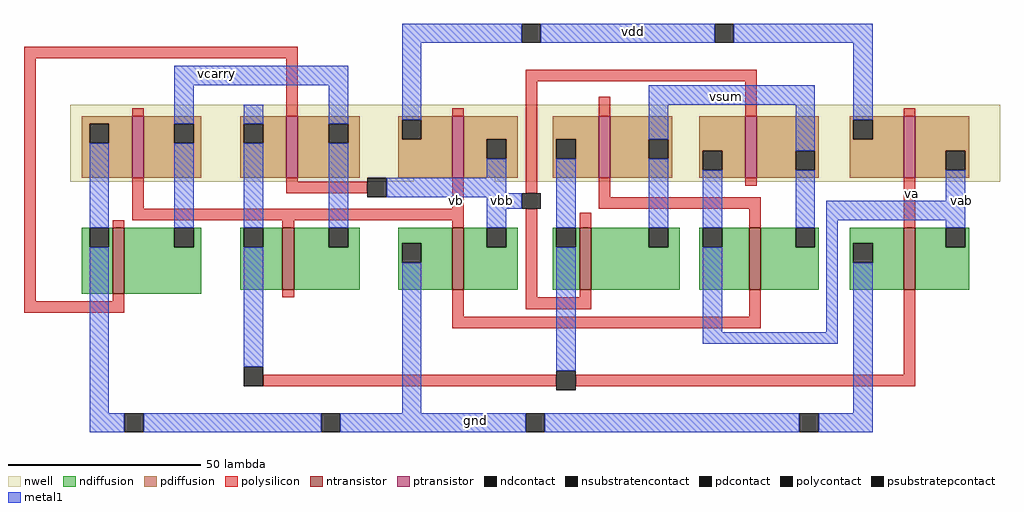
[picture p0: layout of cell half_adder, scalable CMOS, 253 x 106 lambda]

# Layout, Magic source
magic
tech scmos
<< nwell >>
rect -135 1 106 20
rect -135 0 -46 1
rect -25 0 106 1
<< polysilicon >>
rect -147 32 -76 35
rect -147 -31 -144 32
rect -119 17 -116 19
rect -79 17 -76 32
rect -17 26 43 29
rect -36 17 -33 19
rect -119 -7 -116 1
rect -79 0 -76 1
rect -79 -3 -58 0
rect -36 -7 -33 1
rect -17 -3 -14 26
rect 2 17 5 22
rect 40 17 43 26
rect 81 17 84 19
rect 2 -4 5 1
rect 40 -1 43 1
rect 2 -7 44 -4
rect -119 -10 -33 -7
rect -124 -12 -121 -10
rect -80 -12 -77 -10
rect -36 -12 -33 -10
rect -124 -31 -121 -29
rect -80 -30 -77 -28
rect -147 -34 -121 -31
rect -36 -35 -33 -28
rect -17 -30 -14 -7
rect -3 -12 0 -8
rect 41 -12 44 -7
rect 81 -12 84 1
rect -3 -30 0 -28
rect -17 -33 0 -30
rect 41 -35 44 -28
rect -36 -38 44 -35
rect -85 -53 -9 -50
rect 81 -50 84 -28
rect -4 -53 84 -50
<< ndiffusion >>
rect -132 -17 -130 -12
rect -125 -17 -124 -12
rect -132 -29 -124 -17
rect -121 -17 -108 -12
rect -103 -17 -101 -12
rect -121 -29 -101 -17
rect -91 -17 -90 -12
rect -85 -17 -80 -12
rect -91 -28 -80 -17
rect -77 -17 -68 -12
rect -63 -17 -60 -12
rect -77 -28 -60 -17
rect -50 -16 -36 -12
rect -50 -21 -49 -16
rect -44 -21 -36 -16
rect -50 -28 -36 -21
rect -33 -17 -27 -12
rect -22 -17 -19 -12
rect -33 -28 -19 -17
rect -10 -17 -9 -12
rect -4 -17 -3 -12
rect -10 -28 -3 -17
rect 0 -17 15 -12
rect 20 -17 23 -12
rect 0 -28 23 -17
rect 28 -17 29 -12
rect 34 -17 41 -12
rect 28 -28 41 -17
rect 44 -17 53 -12
rect 58 -17 59 -12
rect 44 -28 59 -17
rect 67 -16 81 -12
rect 67 -21 68 -16
rect 73 -21 81 -16
rect 67 -28 81 -21
rect 84 -17 92 -12
rect 97 -17 98 -12
rect 84 -28 98 -17
<< pdiffusion >>
rect -132 15 -119 17
rect -132 10 -130 15
rect -125 10 -119 15
rect -132 1 -119 10
rect -116 15 -101 17
rect -116 10 -108 15
rect -103 10 -101 15
rect -116 1 -101 10
rect -91 15 -79 17
rect -91 10 -90 15
rect -85 10 -79 15
rect -91 1 -79 10
rect -76 15 -60 17
rect -76 10 -68 15
rect -63 10 -60 15
rect -76 1 -60 10
rect -50 16 -36 17
rect -50 11 -49 16
rect -44 11 -36 16
rect -50 1 -36 11
rect -33 11 -19 17
rect -33 6 -27 11
rect -22 6 -19 11
rect -33 1 -19 6
rect -10 11 2 17
rect -10 6 -9 11
rect -4 6 2 11
rect -10 1 2 6
rect 5 11 21 17
rect 5 6 15 11
rect 20 6 21 11
rect 5 1 21 6
rect 28 8 40 17
rect 28 3 29 8
rect 34 3 40 8
rect 28 1 40 3
rect 43 8 59 17
rect 43 3 53 8
rect 58 3 59 8
rect 43 1 59 3
rect 67 16 81 17
rect 67 11 68 16
rect 73 11 81 16
rect 67 1 81 11
rect 84 8 98 17
rect 84 3 92 8
rect 97 3 98 8
rect 84 1 98 3
<< metal1 >>
rect -49 36 -18 41
rect -13 36 32 41
rect 37 36 73 41
rect -108 25 -63 30
rect -108 15 -103 25
rect -130 -12 -125 10
rect -108 -12 -103 10
rect -90 15 -85 20
rect -90 -12 -85 10
rect -68 15 -63 25
rect -49 16 -44 36
rect 15 20 58 25
rect 15 11 20 20
rect -68 -12 -63 10
rect -27 1 -22 6
rect -53 -3 -22 1
rect -53 -4 -18 -3
rect -27 -7 -18 -4
rect -27 -12 -22 -7
rect -130 -60 -125 -17
rect -90 -48 -85 -17
rect -9 -12 -4 6
rect 53 8 58 20
rect 68 16 73 36
rect 15 -12 20 6
rect 29 -12 34 3
rect 53 -12 58 3
rect 92 -5 97 3
rect 61 -10 97 -5
rect -49 -60 -44 -21
rect -9 -49 -4 -17
rect 29 -39 34 -17
rect 61 -39 64 -10
rect 92 -12 97 -10
rect 29 -42 64 -39
rect 68 -60 73 -21
rect -130 -65 -121 -60
rect -116 -65 -70 -60
rect -65 -65 -17 -60
rect -12 -65 54 -60
rect 59 -65 73 -60
<< ntransistor >>
rect -124 -29 -121 -12
rect -80 -28 -77 -12
rect -36 -28 -33 -12
rect -3 -28 0 -12
rect 41 -28 44 -12
rect 81 -28 84 -12
<< ptransistor >>
rect -119 1 -116 17
rect -79 1 -76 17
rect -36 1 -33 17
rect 2 1 5 17
rect 40 1 43 17
rect 81 1 84 17
<< polycontact >>
rect -58 -4 -53 1
rect -18 -7 -13 -3
rect -90 -53 -85 -48
rect -9 -54 -4 -49
<< ndcontact >>
rect -130 -17 -125 -12
rect -108 -17 -103 -12
rect -90 -17 -85 -12
rect -68 -17 -63 -12
rect -49 -21 -44 -16
rect -27 -17 -22 -12
rect -9 -17 -4 -12
rect 15 -17 20 -12
rect 29 -17 34 -12
rect 53 -17 58 -12
rect 68 -21 73 -16
rect 92 -17 97 -12
<< pdcontact >>
rect -130 10 -125 15
rect -108 10 -103 15
rect -90 10 -85 15
rect -68 10 -63 15
rect -49 11 -44 16
rect -27 6 -22 11
rect -9 6 -4 11
rect 15 6 20 11
rect 29 3 34 8
rect 53 3 58 8
rect 68 11 73 16
rect 92 3 97 8
<< psubstratepcontact >>
rect -121 -65 -116 -60
rect -70 -65 -65 -60
rect -17 -65 -12 -60
rect 54 -65 59 -60
<< nsubstratencontact >>
rect -18 36 -13 41
rect 32 36 37 41
<< labels >>
rlabel metal1 11 39 11 39 5 vdd
rlabel metal1 -23 -5 -23 -5 1 vbb
rlabel metal1 96 -5 96 -5 1 vab
rlabel metal1 35 22 35 22 1 vsum
rlabel metal1 -97 28 -97 28 1 vcarry
rlabel polysilicon -35 -5 -35 -5 1 vb
rlabel metal1 -30 -62 -30 -62 1 gnd
rlabel polysilicon 83 -3 83 -3 1 va
<< end >>
